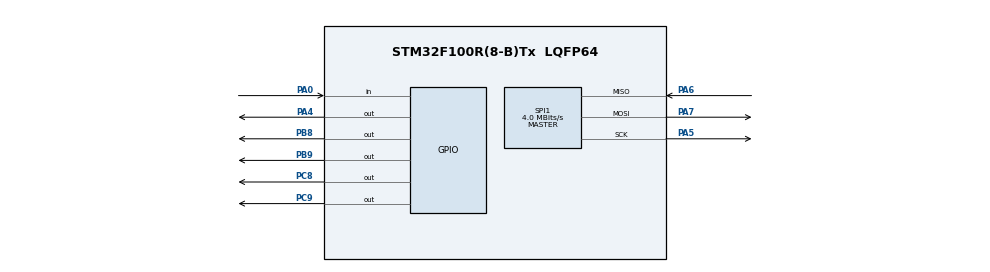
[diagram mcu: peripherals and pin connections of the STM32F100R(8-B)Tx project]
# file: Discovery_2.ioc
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Mcu.Family=STM32F1
Mcu.Name=STM32F100R(8-B)Tx
Mcu.Package=LQFP64
NVIC.PriorityGroup=NVIC_PRIORITYGROUP_4
NVIC.SPI1_IRQn=true\:0\:0\:false\:false\:true\:true\:true\:true
PA0-WKUP.Signal=GPIO_Input
PA13.Mode=Serial_Wire
PA13.Signal=SYS_JTMS-SWDIO
PA14.Mode=Serial_Wire
PA14.Signal=SYS_JTCK-SWCLK
PA4.Signal=GPIO_Output
PA5.Mode=Full_Duplex_Master
PA5.Signal=SPI1_SCK
PA6.Mode=Full_Duplex_Master
PA6.Signal=SPI1_MISO
PA7.Mode=Full_Duplex_Master
PA7.Signal=SPI1_MOSI
PB8.Signal=GPIO_Output
PB9.Signal=GPIO_Output
PC8.Signal=GPIO_Output
PC9.Signal=GPIO_Output
ProjectManager.HeapSize=0x200
ProjectManager.StackSize=0x400
ProjectManager.TargetToolchain=STM32CubeIDE
RCC.APB1Freq_Value=8000000
RCC.APB2Freq_Value=8000000
SPI1.CalculateBaudRate=4.0 MBits/s
SPI1.Direction=SPI_DIRECTION_2LINES
SPI1.Mode=SPI_MODE_MASTER
SPI1.VirtualType=VM_MASTER
board=custom

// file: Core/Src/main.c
/* USER CODE BEGIN Header */
/**
  ******************************************************************************
  * @file           : main.c
  * @brief          : Main program body
  ******************************************************************************
  * @attention
  *
  * Copyright (c) 2024 STMicroelectronics.
  * All rights reserved.
  *
  * This software is licensed under terms that can be found in the LICENSE file
  * in the root directory of this software component.
  * If no LICENSE file comes with this software, it is provided AS-IS.
  *
  ******************************************************************************
  */
/* USER CODE END Header */
#include "main.h"

/* USER CODE BEGIN Includes */
#include "lvgl.h"
#include "LCDController.h"
#include "ili9341.h"
#include "fonts.h"
/* USER CODE END Includes */

SPI_HandleTypeDef hspi1;

void SystemClock_Config(void);
static void MX_GPIO_Init(void);
static void MX_SPI1_Init(void);

int main(void)
{

  /* MCU Configuration--------------------------------------------------------*/

  /* Reset of all peripherals, Initializes the Flash interface and the Systick. */
  HAL_Init();

  /* USER CODE BEGIN Init */
  void greeting_init()
  {
  	  ILI9341_FillScreen(ILI9341_BLACK);

  	  for(int x = 0; x < ILI9341_WIDTH; x++) {
  		  ILI9341_DrawPixel(x, 0, 65535);				//ILI9341_RED
  	      ILI9341_DrawPixel(x, ILI9341_HEIGHT-1, ILI9341_RED);
  	  }

  	  for(int y = 0; y < ILI9341_HEIGHT; y++) {
  	      ILI9341_DrawPixel(0, y, 65535);			//ILI9341_RED
  	      ILI9341_DrawPixel(ILI9341_WIDTH-1, y, ILI9341_RED);
  	  }

  	  HAL_Delay(500);

  	  ILI9341_WriteString(2, 72, "Press the button to see variants", Font_7x10, ILI9341_GREEN, ILI9341_BLACK);
  }

    void init() {
        //ILI9341_Unselect();
    //    ILI9341_TouchUnselect();
      //  ILI9341_Init();

        greeting_init();
    }
  /* USER CODE END Init */

  /* Configure the system clock */
  SystemClock_Config();

  /* Initialize all configured peripherals */
  MX_GPIO_Init();
  MX_SPI1_Init();
  /* USER CODE BEGIN 2 */
  lv_init();
  lv_port_disp_init();

  init();
  // Change the active screen's background color
  lv_obj_set_style_bg_color(lv_scr_act(), lv_palette_main(LV_PALETTE_LIME), LV_PART_MAIN);

 void change_color(void)
 {
  	lv_obj_set_style_bg_color(lv_scr_act(),lv_palette_main(LV_PALETTE_RED), LV_PART_MAIN);
  }
  void lv_example_style_8(void)
  {
	  lv_obj_t * btn = lv_btn_create(lv_scr_act());     /*Add a button the current screen*/
	  lv_obj_set_pos(btn, 10, 10);                            /*Set its position*/
	  lv_obj_set_size(btn, 120, 50);                          /*Set its size*/

	  lv_obj_t * label = lv_label_create(btn);          /*Add a label to the button*/
	  lv_label_set_text(label, "Button");                     /*Set the labels text*/
	  lv_obj_center(label);
  }

  void lv_example_label_1(void)
  {
      lv_obj_t * label1 = lv_label_create(lv_scr_act());
      lv_label_set_long_mode(label1, LV_LABEL_LONG_WRAP);
      lv_label_set_recolor(label1, true);
      lv_label_set_text(label1, "#0000ff Re-color# #ff00ff words# #ff0000 of a# label, align the lines to the center "
                        "and wrap long text automatically. ");
      lv_obj_set_width(label1, 100);  /*Set smaller width to make the lines wrap*/
      lv_obj_set_style_text_align(label1, LV_TEXT_ALIGN_CENTER, 0);
      lv_obj_align(label1, LV_ALIGN_CENTER, 0, 0);
  }
  /* USER CODE END 2 */

  /* Infinite loop */
  /* USER CODE BEGIN WHILE */
  while (1)
  {

	  lv_timer_handler();
	  HAL_Delay(5);

	  if ( HAL_GPIO_ReadPin(GPIOA, GPIO_PIN_0) ) {
		  HAL_GPIO_TogglePin(GPIOC, GPIO_PIN_8);

		  lv_example_label_1();

	 	  HAL_Delay(50);
	  }

    /* USER CODE END WHILE */

  }
}

void SystemClock_Config(void)
{
  RCC_OscInitTypeDef RCC_OscInitStruct = {0};
  RCC_ClkInitTypeDef RCC_ClkInitStruct = {0};

  /** Initializes the RCC Oscillators according to the specified parameters
  * in the RCC_OscInitTypeDef structure.
  */
  RCC_OscInitStruct.OscillatorType = RCC_OSCILLATORTYPE_HSI;
  RCC_OscInitStruct.HSIState = RCC_HSI_ON;
  RCC_OscInitStruct.HSICalibrationValue = RCC_HSICALIBRATION_DEFAULT;
  RCC_OscInitStruct.PLL.PLLState = RCC_PLL_NONE;
  if (HAL_RCC_OscConfig(&RCC_OscInitStruct) != HAL_OK)
  {
    Error_Handler();
  }

  /** Initializes the CPU, AHB and APB buses clocks
  */
  RCC_ClkInitStruct.ClockType = RCC_CLOCKTYPE_HCLK|RCC_CLOCKTYPE_SYSCLK
                              |RCC_CLOCKTYPE_PCLK1|RCC_CLOCKTYPE_PCLK2;
  RCC_ClkInitStruct.SYSCLKSource = RCC_SYSCLKSOURCE_HSI;
  RCC_ClkInitStruct.AHBCLKDivider = RCC_SYSCLK_DIV1;
  RCC_ClkInitStruct.APB1CLKDivider = RCC_HCLK_DIV1;
  RCC_ClkInitStruct.APB2CLKDivider = RCC_HCLK_DIV1;

  if (HAL_RCC_ClockConfig(&RCC_ClkInitStruct, FLASH_LATENCY_0) != HAL_OK)
  {
    Error_Handler();
  }
}

static void MX_SPI1_Init(void)
{

  /* SPI1 parameter configuration*/
  hspi1.Instance = SPI1;
  hspi1.Init.Mode = SPI_MODE_MASTER;
  hspi1.Init.Direction = SPI_DIRECTION_2LINES;
  hspi1.Init.DataSize = SPI_DATASIZE_8BIT;
  hspi1.Init.CLKPolarity = SPI_POLARITY_LOW;
  hspi1.Init.CLKPhase = SPI_PHASE_1EDGE;
  hspi1.Init.NSS = SPI_NSS_SOFT;
  hspi1.Init.BaudRatePrescaler = SPI_BAUDRATEPRESCALER_2;
  hspi1.Init.FirstBit = SPI_FIRSTBIT_MSB;
  hspi1.Init.TIMode = SPI_TIMODE_DISABLE;
  hspi1.Init.CRCCalculation = SPI_CRCCALCULATION_DISABLE;
  hspi1.Init.CRCPolynomial = 10;
  if (HAL_SPI_Init(&hspi1) != HAL_OK)
  {
    Error_Handler();
  }

}

static void MX_GPIO_Init(void)
{
  GPIO_InitTypeDef GPIO_InitStruct = {0};

  /* GPIO Ports Clock Enable */
  __HAL_RCC_GPIOA_CLK_ENABLE();
  __HAL_RCC_GPIOC_CLK_ENABLE();
  __HAL_RCC_GPIOB_CLK_ENABLE();

  /*Configure GPIO pin Output Level */
  HAL_GPIO_WritePin(GPIOA, GPIO_PIN_4, GPIO_PIN_RESET);

  /*Configure GPIO pin Output Level */
  HAL_GPIO_WritePin(GPIOC, GPIO_PIN_8|GPIO_PIN_9, GPIO_PIN_RESET);

  /*Configure GPIO pin Output Level */
  HAL_GPIO_WritePin(GPIOB, GPIO_PIN_8|GPIO_PIN_9, GPIO_PIN_RESET);

  /*Configure GPIO pin : PA0 */
  GPIO_InitStruct.Pin = GPIO_PIN_0;
  GPIO_InitStruct.Mode = GPIO_MODE_INPUT;
  GPIO_InitStruct.Pull = GPIO_NOPULL;
  HAL_GPIO_Init(GPIOA, &GPIO_InitStruct);

  /*Configure GPIO pin : PA4 */
  GPIO_InitStruct.Pin = GPIO_PIN_4;
  GPIO_InitStruct.Mode = GPIO_MODE_OUTPUT_PP;
  GPIO_InitStruct.Pull = GPIO_NOPULL;
  GPIO_InitStruct.Speed = GPIO_SPEED_FREQ_LOW;
  HAL_GPIO_Init(GPIOA, &GPIO_InitStruct);

  /*Configure GPIO pins : PC8 PC9 */
  GPIO_InitStruct.Pin = GPIO_PIN_8|GPIO_PIN_9;
  GPIO_InitStruct.Mode = GPIO_MODE_OUTPUT_PP;
  GPIO_InitStruct.Pull = GPIO_NOPULL;
  GPIO_InitStruct.Speed = GPIO_SPEED_FREQ_LOW;
  HAL_GPIO_Init(GPIOC, &GPIO_InitStruct);

  /*Configure GPIO pins : PB8 PB9 */
  GPIO_InitStruct.Pin = GPIO_PIN_8|GPIO_PIN_9;
  GPIO_InitStruct.Mode = GPIO_MODE_OUTPUT_PP;
  GPIO_InitStruct.Pull = GPIO_NOPULL;
  GPIO_InitStruct.Speed = GPIO_SPEED_FREQ_LOW;
  HAL_GPIO_Init(GPIOB, &GPIO_InitStruct);

}

void Error_Handler(void)
{
  __disable_irq();
  while (1)
  {
  }
}
